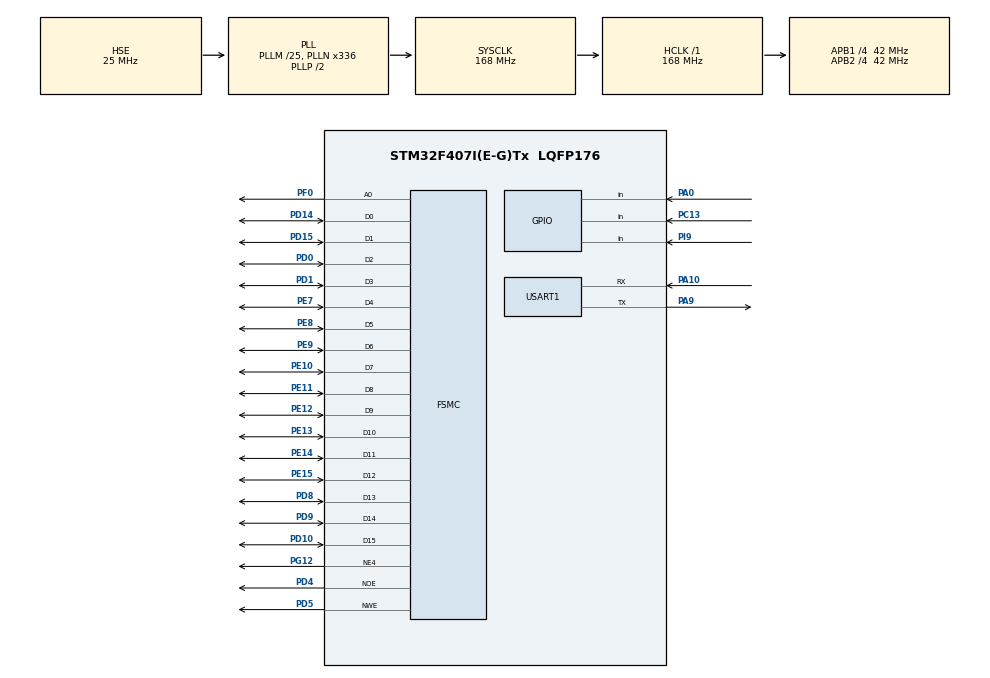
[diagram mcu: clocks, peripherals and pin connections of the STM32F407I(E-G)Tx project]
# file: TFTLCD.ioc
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Mcu.Family=STM32F4
Mcu.Name=STM32F407I(E-G)Tx
Mcu.Package=LQFP176
NVIC.PriorityGroup=NVIC_PRIORITYGROUP_4
NVIC.USART1_IRQn=true\:0\:0\:false\:false\:true
PA0-WKUP.Signal=GPIO_Input
PA10.Mode=Asynchronous
PA10.Signal=USART1_RX
PA9.Mode=Asynchronous
PA9.Signal=USART1_TX
PC13-ANTI_TAMP.Signal=GPIO_Input
PD0.Signal=FSMC_D2_DA2
PD1.Signal=FSMC_D3_DA3
PD10.Signal=FSMC_D15_DA15
PD14.Signal=FSMC_D0_DA0
PD15.Signal=FSMC_D1_DA1
PD4.Signal=FSMC_NOE
PD5.Signal=FSMC_NWE
PD8.Signal=FSMC_D13_DA13
PD9.Signal=FSMC_D14_DA14
PE10.Signal=FSMC_D7_DA7
PE11.Signal=FSMC_D8_DA8
PE12.Signal=FSMC_D9_DA9
PE13.Signal=FSMC_D10_DA10
PE14.Signal=FSMC_D11_DA11
PE15.Signal=FSMC_D12_DA12
PE7.Signal=FSMC_D4_DA4
PE8.Signal=FSMC_D5_DA5
PE9.Signal=FSMC_D6_DA6
PF0.Signal=FSMC_A0
PG12.Mode=NorPsramChipSelect4_1
PG12.Signal=FSMC_NE4
PH0-OSC_IN.Mode=HSE-External-Oscillator
PH0-OSC_IN.Signal=RCC_OSC_IN
PH1-OSC_OUT.Mode=HSE-External-Oscillator
PH1-OSC_OUT.Signal=RCC_OSC_OUT
PI9.Signal=GPIO_Input
ProjectManager.HeapSize=0x200
ProjectManager.StackSize=0x400
ProjectManager.TargetToolchain=MDK-ARM V5
RCC.48MHZClocksFreq_Value=84000000
RCC.AHBFreq_Value=168000000
RCC.APB1CLKDivider=RCC_HCLK_DIV4
RCC.APB1Freq_Value=42000000
RCC.APB1TimFreq_Value=84000000
RCC.APB2CLKDivider=RCC_HCLK_DIV4
RCC.APB2Freq_Value=42000000
RCC.APB2TimFreq_Value=84000000
RCC.CortexFreq_Value=168000000
RCC.HCLKFreq_Value=168000000
RCC.HSE_VALUE=25000000
RCC.HSI_VALUE=16000000
RCC.LSE_VALUE=32768
RCC.PLLM=25
RCC.PLLN=336
RCC.PLLSourceVirtual=RCC_PLLSOURCE_HSE
RCC.SYSCLKFreq_VALUE=168000000
RCC.SYSCLKSource=RCC_SYSCLKSOURCE_PLLCLK
RCC.VCOOutputFreq_Value=336000000
SH.FSMC_A0.0=FSMC_A0,A0_1
SH.FSMC_D0_DA0.0=FSMC_D0,16b-d1
SH.FSMC_D10_DA10.0=FSMC_D10,16b-d1
SH.FSMC_D11_DA11.0=FSMC_D11,16b-d1
SH.FSMC_D12_DA12.0=FSMC_D12,16b-d1
SH.FSMC_D13_DA13.0=FSMC_D13,16b-d1
SH.FSMC_D14_DA14.0=FSMC_D14,16b-d1
SH.FSMC_D15_DA15.0=FSMC_D15,16b-d1
SH.FSMC_D1_DA1.0=FSMC_D1,16b-d1
SH.FSMC_D2_DA2.0=FSMC_D2,16b-d1
SH.FSMC_D3_DA3.0=FSMC_D3,16b-d1
SH.FSMC_D4_DA4.0=FSMC_D4,16b-d1
SH.FSMC_D5_DA5.0=FSMC_D5,16b-d1
SH.FSMC_D6_DA6.0=FSMC_D6,16b-d1
SH.FSMC_D7_DA7.0=FSMC_D7,16b-d1
SH.FSMC_D8_DA8.0=FSMC_D8,16b-d1
SH.FSMC_D9_DA9.0=FSMC_D9,16b-d1
SH.FSMC_NOE.0=FSMC_NOE,Lcd1
SH.FSMC_NWE.0=FSMC_NWE,Lcd1
USART1.VirtualMode=VM_ASYNC
board=TFTLCD

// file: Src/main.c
/**
  ******************************************************************************
  * File Name          : main.c
  * Description        : Main program body
  ******************************************************************************
  *
  * COPYRIGHT(c) 2023 STMicroelectronics
  *
  * Redistribution and use in source and binary forms, with or without modification,
  * are permitted provided that the following conditions are met:
  *   1. Redistributions of source code must retain the above copyright notice,
  *      this list of conditions and the following disclaimer.
  *   2. Redistributions in binary form must reproduce the above copyright notice,
  *      this list of conditions and the following disclaimer in the documentation
  *      and/or other materials provided with the distribution.
  *   3. Neither the name of STMicroelectronics nor the names of its contributors
  *      may be used to endorse or promote products derived from this software
  *      without specific prior written permission.
  *
  * THIS SOFTWARE IS PROVIDED BY THE COPYRIGHT HOLDERS AND CONTRIBUTORS "AS IS"
  * AND ANY EXPRESS OR IMPLIED WARRANTIES, INCLUDING, BUT NOT LIMITED TO, THE
  * IMPLIED WARRANTIES OF MERCHANTABILITY AND FITNESS FOR A PARTICULAR PURPOSE ARE
  * DISCLAIMED. IN NO EVENT SHALL THE COPYRIGHT HOLDER OR CONTRIBUTORS BE LIABLE
  * FOR ANY DIRECT, INDIRECT, INCIDENTAL, SPECIAL, EXEMPLARY, OR CONSEQUENTIAL
  * DAMAGES (INCLUDING, BUT NOT LIMITED TO, PROCUREMENT OF SUBSTITUTE GOODS OR
  * SERVICES; LOSS OF USE, DATA, OR PROFITS; OR BUSINESS INTERRUPTION) HOWEVER
  * CAUSED AND ON ANY THEORY OF LIABILITY, WHETHER IN CONTRACT, STRICT LIABILITY,
  * OR TORT (INCLUDING NEGLIGENCE OR OTHERWISE) ARISING IN ANY WAY OUT OF THE USE
  * OF THIS SOFTWARE, EVEN IF ADVISED OF THE POSSIBILITY OF SUCH DAMAGE.
  *
  ******************************************************************************
  */
#include "main.h"
#include "stm32f4xx_hal.h"
#include "usart.h"
#include "gpio.h"
#include "fsmc.h"

/* USER CODE BEGIN Includes */
#include "lcd.h"
/* USER CODE END Includes */

/* USER CODE BEGIN PV */
/* Private variables ---------------------------------------------------------*/
uint8_t Buff[10];
uint8_t String[10];
uint8_t Key;
uint8_t Mode;
extern uint8_t gImage_fg[];
/* USER CODE END PV */

void SystemClock_Config(void);
void Error_Handler(void);

/* USER CODE BEGIN PFP */
/* Private function prototypes -----------------------------------------------*/

/* USER CODE END PFP */

int main(void)
{

  /* MCU Configuration----------------------------------------------------------*/

  /* Reset of all peripherals, Initializes the Flash interface and the Systick. */
  HAL_Init();

  /* Configure the system clock */
  SystemClock_Config();

  /* Initialize all configured peripherals */
  MX_GPIO_Init();
  MX_FSMC_Init();
  MX_USART1_UART_Init();

  /* USER CODE BEGIN 2 */
	Mode = 1;
	lcd_init();
	lcd_clear(Blue);
	lcd_clear(Green);
	lcd_clear(Yellow);
	lcd_clear(White);
	LCD_ShowString(180, 18, "开发板实验", Black, White);  	/* 显示字符串 */
	// LCD_ShowChar(220,20,'p',16,Blue,White);

	LCD_Fill(10, 40, 100, 100, Blue);						   	/* 红色填充   */
	LCD_Fill(30, 60, 120, 120, White);
	LCD_ShowString(40, 80, "成就梦想", Blue, White);

  // Draw_Circle(180, 120, 30, Blue);							/*  画园     */
  LCD_DrawRectangle(180, 90, 338, 180, Green);				/*  画矩形,向右下角伸展   */
	// 平行四边形
	LCD_DrawLine(151, 60, 309, 60, Red); // 顶边
	LCD_DrawLine(180, 90, 151, 60, Red); // 左边
	LCD_DrawLine(180, 90, 338, 90, Red); // 底边
	LCD_DrawLine(338, 90, 309, 60, Red); // 右边

	LCD_DrawLine(151, 60, 151, 150, Blue);
	LCD_DrawLine(180, 180, 151, 150, Blue);
  /* USER CODE END 2 */

  /* Infinite loop */
  while (1)
  {

  /* USER CODE BEGIN 3 */
		Key = KEY_Scan(0);
		switch(Key){
			case 3:
				Mode = 1;
				break;
			case 4:
				break;
			case 5:
				Mode = 2;
				break;
			case 6:
				Mode = 3;
		}
		HAL_UART_Receive_IT(&huart1, Buff, 10);//中断方式接收，中断回调函数里发送Buff
		switch(Mode) {
			case 1:
				LCD_ShowString(190, 130, Buff, Blue, Green);
				break;
			case 2:
				LCD_ShowString(190, 130, Buff, White, Black);
				break;
			case 3:
				LCD_ShowString(190, 130, Buff, Red, White);
				break;
		}
		// LCD_ShowString(200, 200, Buff, Blue, White);
  }
  /* USER CODE END 3 */

}

/** System Clock Configuration
*/
void SystemClock_Config(void)
{

  RCC_OscInitTypeDef RCC_OscInitStruct;
  RCC_ClkInitTypeDef RCC_ClkInitStruct;

    /**Configure the main internal regulator output voltage
    */
  __HAL_RCC_PWR_CLK_ENABLE();

  __HAL_PWR_VOLTAGESCALING_CONFIG(PWR_REGULATOR_VOLTAGE_SCALE1);

    /**Initializes the CPU, AHB and APB busses clocks
    */
  RCC_OscInitStruct.OscillatorType = RCC_OSCILLATORTYPE_HSE;
  RCC_OscInitStruct.HSEState = RCC_HSE_ON;
  RCC_OscInitStruct.PLL.PLLState = RCC_PLL_ON;
  RCC_OscInitStruct.PLL.PLLSource = RCC_PLLSOURCE_HSE;
  RCC_OscInitStruct.PLL.PLLM = 25;
  RCC_OscInitStruct.PLL.PLLN = 336;
  RCC_OscInitStruct.PLL.PLLP = RCC_PLLP_DIV2;
  RCC_OscInitStruct.PLL.PLLQ = 4;
  if (HAL_RCC_OscConfig(&RCC_OscInitStruct) != HAL_OK)
  {
    Error_Handler();
  }

    /**Initializes the CPU, AHB and APB busses clocks
    */
  RCC_ClkInitStruct.ClockType = RCC_CLOCKTYPE_HCLK|RCC_CLOCKTYPE_SYSCLK
                              |RCC_CLOCKTYPE_PCLK1|RCC_CLOCKTYPE_PCLK2;
  RCC_ClkInitStruct.SYSCLKSource = RCC_SYSCLKSOURCE_PLLCLK;
  RCC_ClkInitStruct.AHBCLKDivider = RCC_SYSCLK_DIV1;
  RCC_ClkInitStruct.APB1CLKDivider = RCC_HCLK_DIV4;
  RCC_ClkInitStruct.APB2CLKDivider = RCC_HCLK_DIV4;

  if (HAL_RCC_ClockConfig(&RCC_ClkInitStruct, FLASH_LATENCY_5) != HAL_OK)
  {
    Error_Handler();
  }

    /**Configure the Systick interrupt time
    */
  HAL_SYSTICK_Config(HAL_RCC_GetHCLKFreq()/1000);

    /**Configure the Systick
    */
  HAL_SYSTICK_CLKSourceConfig(SYSTICK_CLKSOURCE_HCLK);

  /* SysTick_IRQn interrupt configuration */
  HAL_NVIC_SetPriority(SysTick_IRQn, 0, 0);
}

/* USER CODE BEGIN 4 */
//用户中断接收回调函数如下
void HAL_UART_RxCpltCallback(UART_HandleTypeDef *huart)
{
	HAL_UART_Transmit(&huart1, Buff, 10,100);
}
/*       */
int fputc(int ch, FILE *f)
{
  uint8_t tmp[1]={0};
	tmp[0] = (uint8_t)ch;
	HAL_UART_Transmit(&huart1,tmp,1,10);
	return ch;
}
/* USER CODE END 4 */

void Error_Handler(void)
{
  while(1)
  {
  }
}

/************************ (C) COPYRIGHT STMicroelectronics *****END OF FILE****/
